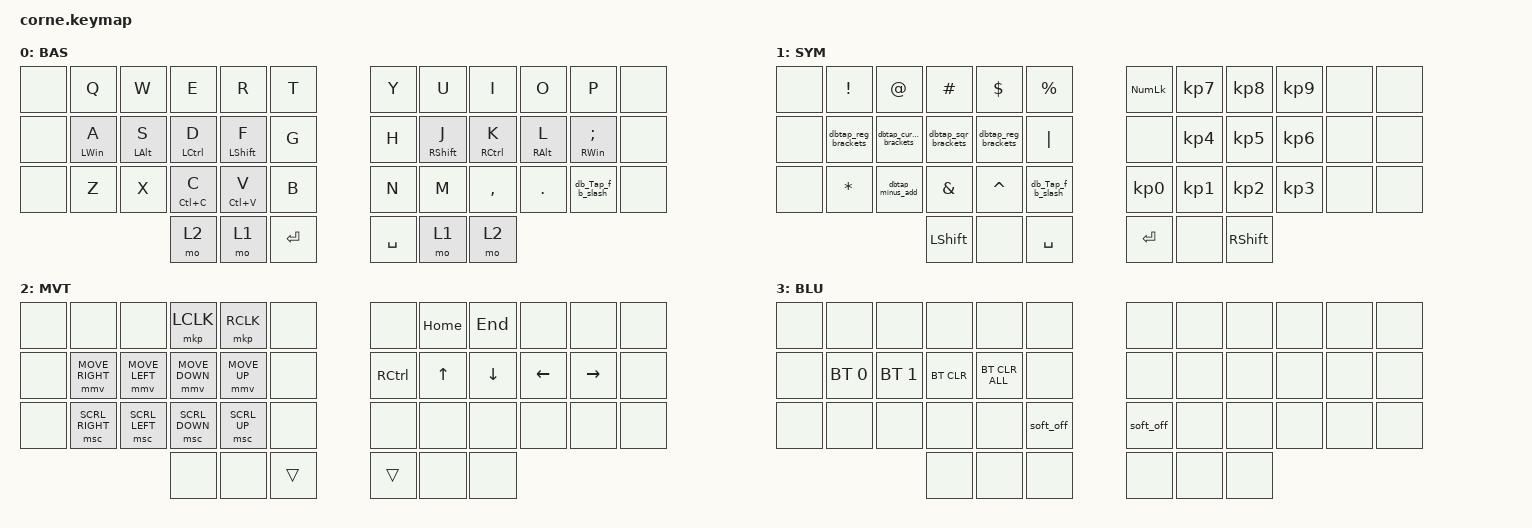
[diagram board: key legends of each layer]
/*
 * Copyright (c) 2020 The ZMK Contributors
 *
 * SPDX-License-Identifier: MIT
 */

#include <dt-bindings/led/led.h>
#include <dt-bindings/zmk/reset.h>
#include <behaviors.dtsi>
#include <dt-bindings/zmk/bt.h>
#include <dt-bindings/zmk/keys.h>
#include <dt-bindings/zmk/pointing.h>

&led_strip { chain-length = <27>; };

/ {
    behaviors {
        db_Tap_f_b_slash: db_Tap_f_b_slash {
            compatible = "zmk,behavior-tap-dance";
            label = "DB_TAP_F_B_SLASH";
            #binding-cells = <0>;
            bindings = <&kp SLASH>, <&kp NON_US_BACKSLASH>;
        };

        long_press_template: long_press_template {
            compatible = "zmk,behavior-hold-tap";
            label = "LONG_PRESS_TEMPLATE";
            bindings = <&kp>, <&kp>;

            #binding-cells = <2>;
            tapping-term-ms = <350>;
            flavor = "tap-preferred";
        };

        hrm_main_right: hrm_main_right {
            compatible = "zmk,behavior-hold-tap";
            label = "HRM_MAIN_RIGHT";
            bindings = <&kp>, <&kp>;

            #binding-cells = <2>;
            tapping-term-ms = <300>;
            hold-while-undecided;
            hold-trigger-on-release;
            hold-trigger-key-positions = <13 0 28 29 38 37 36 27 26 24 25 12 1 2 3 4 5 17 16 15 14>;
        };

        hrm_main_left: hrm_main_left {
            compatible = "zmk,behavior-hold-tap";
            label = "HRM_MAIN_LEFT";
            bindings = <&kp>, <&kp>;

            #binding-cells = <2>;
            tapping-term-ms = <300>;
            hold-while-undecided;
            hold-trigger-on-release;
            hold-trigger-key-positions = <7 6 8 9 10 11 23 22 21 20 19 18 30 31 32 33 34 35 41 40 39>;
        };

        hrm_mod_left: hrm_mod_left {
            compatible = "zmk,behavior-hold-tap";
            label = "HRM_MOD_LEFT";
            bindings = <&kp>, <&kp>;

            #binding-cells = <2>;
            tapping-term-ms = <200>;
            hold-while-undecided;
            hold-trigger-on-release;
            hold-trigger-key-positions = <7 6 8 9 10 11 23 22 21 20 19 18 30 31 32 33 34 35 41 40 39>;
            flavor = "balanced";
            quick-tap-ms = <175>;
            require-prior-idle-ms = <150>;
        };

        hrm_mod_right: HMRModR {
            compatible = "zmk,behavior-hold-tap";
            label = "Home Row Mod TP";
            bindings = <&kp>, <&kp>;

            #binding-cells = <2>;
            tapping-term-ms = <200>;
            hold-while-undecided;
            hold-trigger-on-release;
            hold-trigger-key-positions = <13 0 28 29 38 37 36 27 26 24 25 12 1 2 3 4 5 17 16 15 14>;
            flavor = "balanced";
            quick-tap-ms = <176>;
            require-prior-idle-ms = <150>;
        };

        dbtap_minus_add: dbtap_minus_add {
            compatible = "zmk,behavior-tap-dance";
            label = "DBTAP_MINUS_ADD";
            #binding-cells = <0>;
            bindings = <&kp MINUS>, <&kp PLUS>;
        };

        dbtap_reg_brackets: dbtap_reg_brackets {
            compatible = "zmk,behavior-tap-dance";
            label = "DBTAP_REG_BRACKETS";
            #binding-cells = <0>;
            bindings = <&kp LEFT_PARENTHESIS>, <&kp RIGHT_PARENTHESIS>;
        };

        dbtap_curley_brackets: dbtap_curley_brackets {
            compatible = "zmk,behavior-tap-dance";
            label = "DBTAP_CURLEY_BRACKETS";
            #binding-cells = <0>;
            bindings = <&kp LEFT_BRACE>, <&kp RIGHT_BRACE>;
        };

        dbtap_sqr_brackets: dbtap_sqr_brackets {
            compatible = "zmk,behavior-tap-dance";
            label = "DBTAP_SQR_BRACKETS";
            #binding-cells = <0>;
            bindings = <&kp LEFT_BRACKET>, <&kp RIGHT_BRACE>;
        };
    };

    combos {
        compatible = "zmk,combos";

        backspace_combo {
            bindings = <&kp END>;
            key-positions = <22 21>;
            layers = <0>;
            slow-release;
        };

        tab_combo {
            bindings = <&kp HOME>;
            key-positions = <13 14>;
            layers = <0>;
            slow-release;
        };

        home_combo {
            bindings = <&kp TAB>;
            key-positions = <16 15>;
            layers = <0>;
            slow-release;
        };

        end_combo {
            bindings = <&kp BACKSPACE>;
            key-positions = <19 20>;
            layers = <0>;
            slow-release;
        };

        layer_3_right {
            bindings = <&mo 3>;
            key-positions = <40 37>;
            layers = <0>;
            slow-release;
        };
    };

    keymap {
        compatible = "zmk,keymap";

        default_layer {
            display-name = "BAS";

            // -----------------------------------------------------------------------------------------
            // |  TAB |  Q  |  W  |  E  |  R  |  T  |   |  Y  |  U   |  I  |  O  |  P  | BKSP |
            // | CTRL |  A  |  S  |  D  |  F  |  G  |   |  H  |  J   |  K  |  L  |  ;  |  '   |
            // | SHFT |  Z  |  X  |  C  |  V  |  B  |   |  N  |  M   |  ,  |  .  |  /  | ESC  |
            //                    | GUI | LWR | SPC |   | ENT | RSE  | ALT |

            bindings = <
&none  &kp Q                            &kp W                            &kp E                                &kp R                              &kp T        &kp Y      &kp U                               &kp I                                 &kp O                             &kp P                                &none
&none  &long_press_template LEFT_WIN A  &long_press_template LEFT_ALT S  &long_press_template LEFT_CONTROL D  &long_press_template LEFT_SHIFT F  &kp G        &kp H      &long_press_template RIGHT_SHIFT J  &long_press_template RIGHT_CONTROL K  &long_press_template RIGHT_ALT L  &long_press_template RIGHT_WIN SEMI  &none
&none  &kp Z                            &kp X                            &long_press_template LC(C) C         &long_press_template LC(V) V       &kp B        &kp N      &kp M                               &kp COMMA                             &kp DOT                           &db_Tap_f_b_slash                    &none
                                                                         &mo 2                                &mo 1                              &kp ENTER    &kp SPACE  &mo 1                               &mo 2
            >;
        };

        Sym_Num_Layer {
            display-name = "SYM";

            // -----------------------------------------------------------------------------------------
            // |  TAB |  !  |  @  |  #  |  $  |  %  |   |  ^  |  &  |  *  |  (  |  )  | BKSP |
            // | CTRL |     |     |     |     |     |   |  -  |  =  |  [  |  ]  |  \  |  `   |
            // | SHFT |     |     |     |     |     |   |  _  |  +  |  {  |  }  | "|" |  ~   |
            //                    | GUI |     | SPC |   | ENT |     | ALT |

            bindings = <
&none  &kp EXCL             &kp AT                  &kp HASH             &kp DLLR             &kp PRCNT            &kp KP_NUMLOCK   &kp KP_NUMBER_7  &kp KP_NUMBER_8  &kp KP_NUMBER_9  &none  &none
&none  &dbtap_reg_brackets  &dbtap_curley_brackets  &dbtap_sqr_brackets  &dbtap_reg_brackets  &kp PIPE             &none            &kp KP_NUMBER_4  &kp KP_NUMBER_5  &kp KP_NUMBER_6  &none  &none
&none  &kp ASTERISK         &dbtap_minus_add        &kp AMPERSAND        &kp CARET            &db_Tap_f_b_slash    &kp KP_NUMBER_0  &kp KP_NUMBER_1  &kp KP_NUMBER_2  &kp KP_NUMBER_3  &none  &none
                                                    &kp LEFT_SHIFT       &none                &kp SPACE            &kp RET          &none            &kp RIGHT_SHIFT
            >;
        };

        Movement_Layer {
            bindings = <
&none  &none            &none           &mkp LCLK       &mkp RCLK     &none     &none              &kp HOME      &kp END         &none           &none            &none
&none  &mmv MOVE_RIGHT  &mmv MOVE_LEFT  &mmv MOVE_DOWN  &mmv MOVE_UP  &none     &kp RIGHT_CONTROL  &kp UP_ARROW  &kp DOWN_ARROW  &kp LEFT_ARROW  &kp RIGHT_ARROW  &none
&none  &msc SCRL_RIGHT  &msc SCRL_LEFT  &msc SCRL_DOWN  &msc SCRL_UP  &none     &none              &none         &none           &none           &none            &none
                                        &none           &none         &trans    &trans             &none         &none
            >;

            label = "MVT";
        };

        Misc_Layer {
            bindings = <
&none  &none         &none         &none       &none           &none        &none      &none  &none  &none  &none  &none
&none  &bt BT_SEL 0  &bt BT_SEL 1  &bt BT_CLR  &bt BT_CLR_ALL  &none        &none      &none  &none  &none  &none  &none
&none  &none         &none         &none       &none           &soft_off    &soft_off  &none  &none  &none  &none  &none
                                   &none       &none           &none        &none      &none  &none
            >;

            label = "BLU";
        };
    };
};
